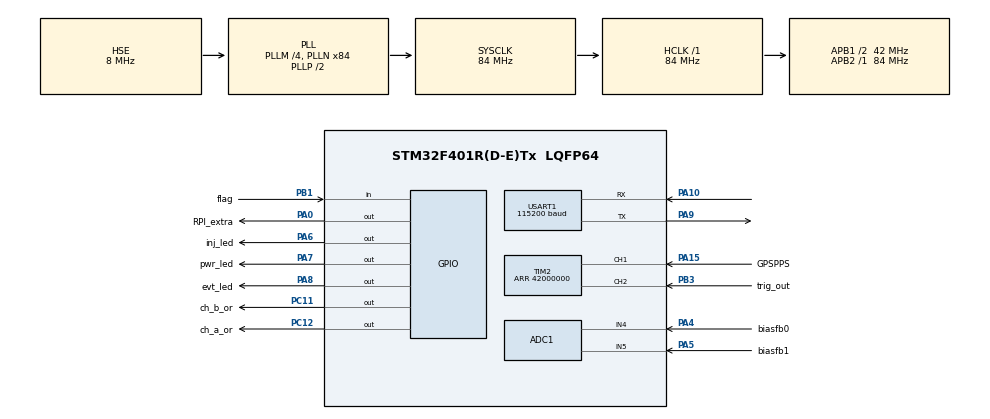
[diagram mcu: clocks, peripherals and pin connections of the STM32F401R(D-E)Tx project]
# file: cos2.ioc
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ADC1.Channel-0\#ChannelRegularConversion=ADC_CHANNEL_4
ADC1.Channel-1\#ChannelRegularConversion=ADC_CHANNEL_4
ADC1.ContinuousConvMode=ENABLE
ADC1.DMAContinuousRequests=ENABLE
ADC1.DataAlign=ADC_DATAALIGN_RIGHT
ADC1.DiscontinuousConvMode=DISABLE
ADC1.EOCSelection=ADC_EOC_SEQ_CONV
ADC1.InjNumberOfConversion=0
ADC1.NbrOfConversion=2
ADC1.NbrOfConversionFlag=1
ADC1.Rank-0\#ChannelRegularConversion=1
ADC1.Rank-1\#ChannelRegularConversion=2
ADC1.SamplingTime-0\#ChannelRegularConversion=ADC_SAMPLETIME_3CYCLES
ADC1.SamplingTime-1\#ChannelRegularConversion=ADC_SAMPLETIME_3CYCLES
ADC1.ScanConvMode=ENABLE
ADC1.master=1
Dma.ADC1.1.Direction=DMA_PERIPH_TO_MEMORY
Dma.ADC1.1.FIFOMode=DMA_FIFOMODE_DISABLE
Dma.ADC1.1.Instance=DMA2_Stream0
Dma.ADC1.1.MemDataAlignment=DMA_MDATAALIGN_HALFWORD
Dma.ADC1.1.MemInc=DMA_MINC_ENABLE
Dma.ADC1.1.Mode=DMA_CIRCULAR
Dma.ADC1.1.PeriphDataAlignment=DMA_PDATAALIGN_HALFWORD
Dma.ADC1.1.PeriphInc=DMA_PINC_DISABLE
Dma.ADC1.1.Priority=DMA_PRIORITY_LOW
Dma.Request0=USART1_TX
Dma.Request1=ADC1
Dma.USART1_TX.0.Direction=DMA_MEMORY_TO_PERIPH
Dma.USART1_TX.0.FIFOMode=DMA_FIFOMODE_DISABLE
Dma.USART1_TX.0.Instance=DMA2_Stream7
Dma.USART1_TX.0.MemDataAlignment=DMA_MDATAALIGN_BYTE
Dma.USART1_TX.0.MemInc=DMA_MINC_ENABLE
Dma.USART1_TX.0.Mode=DMA_NORMAL
Dma.USART1_TX.0.PeriphDataAlignment=DMA_PDATAALIGN_BYTE
Dma.USART1_TX.0.PeriphInc=DMA_PINC_DISABLE
Dma.USART1_TX.0.Priority=DMA_PRIORITY_LOW
IWDG.Prescaler=IWDG_PRESCALER_8
Mcu.Family=STM32F4
Mcu.Name=STM32F401R(D-E)Tx
Mcu.Package=LQFP64
NVIC.DMA2_Stream0_IRQn=true\:0\:0\:false\:false\:true\:false\:true\:true
NVIC.DMA2_Stream7_IRQn=true\:0\:0\:false\:false\:true\:false\:true\:true
NVIC.PriorityGroup=NVIC_PRIORITYGROUP_4
NVIC.TIM2_IRQn=true\:0\:0\:false\:false\:true\:true\:true\:true
NVIC.USART1_IRQn=true\:0\:0\:false\:false\:true\:true\:true\:true
PA0-WKUP.GPIO_Label=RPI_extra
PA0-WKUP.Signal=GPIO_Output
PA10.Mode=Asynchronous
PA10.Signal=USART1_RX
PA13.Mode=Serial_Wire
PA13.Signal=SYS_JTMS-SWDIO
PA14.Mode=Serial_Wire
PA14.Signal=SYS_JTCK-SWCLK
PA15.GPIO_Label=GPSPPS
PA15.Signal=S_TIM2_CH1_ETR
PA4.GPIO_Label=biasfb0
PA4.Signal=ADCx_IN4
PA5.GPIO_Label=biasfb1
PA5.Signal=ADCx_IN5
PA6.GPIO_Label=inj_led
PA6.Signal=GPIO_Output
PA7.GPIO_Label=pwr_led
PA7.Signal=GPIO_Output
PA8.GPIO_Label=evt_led
PA8.Signal=GPIO_Output
PA9.Mode=Asynchronous
PA9.Signal=USART1_TX
PB1.GPIO_Label=flag
PB1.Signal=GPIO_Input
PB3.GPIO_Label=trig_out
PB3.Signal=S_TIM2_CH2
PC11.GPIO_Label=ch_b_or
PC11.Signal=GPIO_Output
PC12.GPIO_Label=ch_a_or
PC12.Signal=GPIO_Output
PC14-OSC32_IN.Mode=LSE-External-Oscillator
PC14-OSC32_IN.Signal=RCC_OSC32_IN
PC15-OSC32_OUT.Mode=LSE-External-Oscillator
PC15-OSC32_OUT.Signal=RCC_OSC32_OUT
PH0\ -\ OSC_IN.Mode=HSE-External-Oscillator
PH0\ -\ OSC_IN.Signal=RCC_OSC_IN
PH1\ -\ OSC_OUT.Mode=HSE-External-Oscillator
PH1\ -\ OSC_OUT.Signal=RCC_OSC_OUT
ProjectManager.HeapSize=0x200
ProjectManager.StackSize=0x400
ProjectManager.TargetToolchain=STM32CubeIDE
RCC.48MHZClocksFreq_Value=56000000
RCC.AHBFreq_Value=84000000
RCC.APB1CLKDivider=RCC_HCLK_DIV2
RCC.APB1Freq_Value=42000000
RCC.APB1TimFreq_Value=84000000
RCC.APB2Freq_Value=84000000
RCC.APB2TimFreq_Value=84000000
RCC.CortexFreq_Value=84000000
RCC.HCLKFreq_Value=84000000
RCC.HSE_VALUE=8000000
RCC.HSI_VALUE=16000000
RCC.PLLM=4
RCC.PLLN=84
RCC.PLLQ=3
RCC.PLLSourceVirtual=RCC_PLLSOURCE_HSE
RCC.SYSCLKFreq_VALUE=84000000
RCC.SYSCLKSource=RCC_SYSCLKSOURCE_PLLCLK
RCC.VCOOutputFreq_Value=168000000
SH.ADCx_IN4.0=ADC1_IN4,IN4
SH.ADCx_IN5.0=ADC1_IN5,IN5
SH.S_TIM2_CH1_ETR.0=TIM2_CH1,Input_Capture1_from_TI1
SH.S_TIM2_CH2.0=TIM2_CH2,Input_Capture2_from_TI2
TIM2.Channel-Input_Capture1_from_TI1=TIM_CHANNEL_1
TIM2.Channel-Input_Capture2_from_TI2=TIM_CHANNEL_2
TIM2.Period=42000000
USART1.BaudRate=115200
USART1.OverSampling=UART_OVERSAMPLING_8
USART1.VirtualMode=VM_ASYNC
VP_IWDG_VS_IWDG.Mode=IWDG_Activate
VP_TIM2_VS_ClockSourceINT.Mode=Internal
VP_TIM3_VS_ClockSourceINT.Mode=Internal
board=custom

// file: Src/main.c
/* USER CODE BEGIN Header */
/**
  ******************************************************************************
  * @file           : main.c
  * @brief          : Main program body
  ******************************************************************************
  * @attention
  *
  * Copyright (c) 2024 STMicroelectronics.
  * All rights reserved.
  *
  * This software is licensed under terms that can be found in the LICENSE file
  * in the root directory of this software component.
  * If no LICENSE file comes with this software, it is provided AS-IS.
  *
  ******************************************************************************
  */
/* USER CODE END Header */
#include "main.h"

ADC_HandleTypeDef hadc1;

IWDG_HandleTypeDef hiwdg;

TIM_HandleTypeDef htim2;
TIM_HandleTypeDef htim3;

UART_HandleTypeDef huart1;
DMA_HandleTypeDef hdma_usart1_tx;

/* USER CODE BEGIN PV */
uint8_t pps_started=0;
uint32_t gps_timestamp=0;
uint32_t uptime=0;
uint8_t dumb_numb = 1;
uint8_t TextOutBuf[1024];
uint8_t data_ready = 0;
uint32_t evt_timestamp=0;
/* USER CODE END PV */

void SystemClock_Config(void);
static void MX_GPIO_Init(void);
static void MX_DMA_Init(void);
static void MX_ADC1_Init(void);
static void MX_TIM2_Init(void);
static void MX_TIM3_Init(void);
static void MX_USART1_UART_Init(void);
static void MX_IWDG_Init(void);

/* USER CODE BEGIN 0 */
void debugPrint(UART_HandleTypeDef *huart, char _out[])
{
	HAL_UART_Transmit(huart, (uint8_t *) _out, strlen(_out), 10);
}

void WatchdogRefresh(void) {
	HAL_IWDG_Refresh(&hiwdg);
}

/* USER CODE END 0 */

int main(void)
{

  /* MCU Configuration--------------------------------------------------------*/

  /* Reset of all peripherals, Initializes the Flash interface and the Systick. */
  HAL_Init();

  /* Configure the system clock */
  SystemClock_Config();

  /* Initialize all configured peripherals */
  MX_GPIO_Init();
  MX_DMA_Init();
  MX_ADC1_Init();
  MX_TIM2_Init();
  MX_TIM3_Init();
  MX_USART1_UART_Init();
  MX_IWDG_Init();
  /* USER CODE BEGIN 2 */
  HAL_GPIO_WritePin(pwr_led_GPIO_Port, pwr_led_Pin, GPIO_PIN_SET);
  HAL_GPIO_WritePin(evt_led_GPIO_Port, evt_led_Pin, GPIO_PIN_SET);
  debugPrint(&huart1, "Initialise system...\r\n");

  HAL_TIM_IC_Start(&htim2, TIM_CHANNEL_1); //gps pps timer routine
  HAL_TIM_IC_Start(&htim2, TIM_CHANNEL_2); //evt timer routine

  HAL_TIM_IC_Start_IT(&htim2, TIM_CHANNEL_1); //gps pps timer routine
  //TIM_Cmd(TIM2, ENABLE);
  //TIM2->CR1 |= 0x01;
  HAL_TIM_IC_Start(&htim2, TIM_CHANNEL_2); //gps pps timer routine
  HAL_TIM_IC_Start_IT(&htim2, TIM_CHANNEL_2); //event timer routine
  //TIM2->CR1 |= 0x01;
  //debugPrint(&huart1, "Starting timer 2\r\n");
  //HAL_TIM_Base_Start();
  //HAL_TIM_Base_Start(&htim2);
  //HAL_TIM_Base_Start_IT(&htim2);
 //TIM2->EGR = TIM_EGR_UG;
 //TIM2->CCMR1 &= ~TIM_CCMR1_CC1S;
 //TIM2->CCMR1 |= TIM_CCMR1_CC1S_0;
  //TIM2->CCER |= TIM_CCER_CC1E;
  //TIM2->DIER |= TIM_DIER_UIE;
  //
  //start the timer
  if (HAL_TIM_Base_Start_IT(&htim2) != HAL_OK)
    {
      /* Starting Error */
      Error_Handler();
    }
  //HAL_NVIC_DisableIRQ(TIM2_IRQn);
  //HAL_UART_Transmit(&huart1, pps_started, sizeof(pps_started), HAL_MAX_DELAY);
  //printf(" PPS: %d", dumb_numb); // print
  //HAL_UART_Transmit(&huart1, &buffer, 1, HAL_MAX_DELAY); //delay here has no function, it comes out as soon as it goes in.

  /* USER CODE END 2 */

  /* Infinite loop */
  while (1)
  {

    /* USER CODE BEGIN 3 */
	  WatchdogRefresh();
	  //debugPrint(&huart1, "loop: \r\n");
	  //printf(" PPS: %d", pps_started); // print
	  //sprintf(TextOutBuf, "%d", uptime);
	  //sprintf(TextOutBuf, "count %d", gps_timestamp);
	  //HAL_GPIO_TogglePin(CH_A_OR_GPIO_Port, CH_A_OR_Pin);
	  //HAL_Delay(100);
	  //HAL_GPIO_TogglePin(CH_B_OR_GPIO_Port, CH_B_OR_Pin);
	  //HAL_Delay(100);
	  //HAL_GPIO_TogglePin(CH_B_OR_GPIO_Port, CH_B_OR_Pin);
	  //HAL_Delay(100);
	  if (data_ready == 1)
	  {
	  HAL_UART_Transmit(&huart1, TextOutBuf, sizeof(TextOutBuf), HAL_MAX_DELAY);
	  memset(&TextOutBuf[0], 0, sizeof(TextOutBuf));
	  data_ready = 0;
	  }
	  HAL_Delay(20);
	  HAL_GPIO_WritePin(evt_led_GPIO_Port, evt_led_Pin, GPIO_PIN_RESET);

  }
  /* USER CODE END 3 */
}

void SystemClock_Config(void)
{
  RCC_OscInitTypeDef RCC_OscInitStruct = {0};
  RCC_ClkInitTypeDef RCC_ClkInitStruct = {0};

  /** Configure the main internal regulator output voltage
  */
  __HAL_RCC_PWR_CLK_ENABLE();
  __HAL_PWR_VOLTAGESCALING_CONFIG(PWR_REGULATOR_VOLTAGE_SCALE2);

  /** Initializes the RCC Oscillators according to the specified parameters
  * in the RCC_OscInitTypeDef structure.
  */
  RCC_OscInitStruct.OscillatorType = RCC_OSCILLATORTYPE_LSI|RCC_OSCILLATORTYPE_HSE;
  RCC_OscInitStruct.HSEState = RCC_HSE_ON;
  RCC_OscInitStruct.LSIState = RCC_LSI_ON;
  RCC_OscInitStruct.PLL.PLLState = RCC_PLL_ON;
  RCC_OscInitStruct.PLL.PLLSource = RCC_PLLSOURCE_HSE;
  RCC_OscInitStruct.PLL.PLLM = 4;
  RCC_OscInitStruct.PLL.PLLN = 84;
  RCC_OscInitStruct.PLL.PLLP = RCC_PLLP_DIV2;
  RCC_OscInitStruct.PLL.PLLQ = 3;
  if (HAL_RCC_OscConfig(&RCC_OscInitStruct) != HAL_OK)
  {
    Error_Handler();
  }

  /** Initializes the CPU, AHB and APB buses clocks
  */
  RCC_ClkInitStruct.ClockType = RCC_CLOCKTYPE_HCLK|RCC_CLOCKTYPE_SYSCLK
                              |RCC_CLOCKTYPE_PCLK1|RCC_CLOCKTYPE_PCLK2;
  RCC_ClkInitStruct.SYSCLKSource = RCC_SYSCLKSOURCE_PLLCLK;
  RCC_ClkInitStruct.AHBCLKDivider = RCC_SYSCLK_DIV1;
  RCC_ClkInitStruct.APB1CLKDivider = RCC_HCLK_DIV2;
  RCC_ClkInitStruct.APB2CLKDivider = RCC_HCLK_DIV1;

  if (HAL_RCC_ClockConfig(&RCC_ClkInitStruct, FLASH_LATENCY_2) != HAL_OK)
  {
    Error_Handler();
  }
}

static void MX_ADC1_Init(void)
{

  ADC_ChannelConfTypeDef sConfig = {0};

  /** Configure the global features of the ADC (Clock, Resolution, Data Alignment and number of conversion)
  */
  hadc1.Instance = ADC1;
  hadc1.Init.ClockPrescaler = ADC_CLOCK_SYNC_PCLK_DIV4;
  hadc1.Init.Resolution = ADC_RESOLUTION_12B;
  hadc1.Init.ScanConvMode = DISABLE;
  hadc1.Init.ContinuousConvMode = DISABLE;
  hadc1.Init.DiscontinuousConvMode = DISABLE;
  hadc1.Init.ExternalTrigConvEdge = ADC_EXTERNALTRIGCONVEDGE_NONE;
  hadc1.Init.ExternalTrigConv = ADC_SOFTWARE_START;
  hadc1.Init.DataAlign = ADC_DATAALIGN_RIGHT;
  hadc1.Init.NbrOfConversion = 1;
  hadc1.Init.DMAContinuousRequests = DISABLE;
  hadc1.Init.EOCSelection = ADC_EOC_SINGLE_CONV;
  if (HAL_ADC_Init(&hadc1) != HAL_OK)
  {
    Error_Handler();
  }

  /** Configure for the selected ADC regular channel its corresponding rank in the sequencer and its sample time.
  */
  sConfig.Channel = ADC_CHANNEL_4;
  sConfig.Rank = 1;
  sConfig.SamplingTime = ADC_SAMPLETIME_3CYCLES;
  if (HAL_ADC_ConfigChannel(&hadc1, &sConfig) != HAL_OK)
  {
    Error_Handler();
  }

}

static void MX_IWDG_Init(void)
{

  hiwdg.Instance = IWDG;
  hiwdg.Init.Prescaler = IWDG_PRESCALER_32;
  hiwdg.Init.Reload = 4095;
  if (HAL_IWDG_Init(&hiwdg) != HAL_OK)
  {
    Error_Handler();
  }

}

static void MX_TIM2_Init(void)
{

  TIM_ClockConfigTypeDef sClockSourceConfig = {0};
  TIM_MasterConfigTypeDef sMasterConfig = {0};
  TIM_IC_InitTypeDef sConfigIC = {0};

  htim2.Instance = TIM2;
  htim2.Init.Prescaler = 0;
  htim2.Init.CounterMode = TIM_COUNTERMODE_UP;
  htim2.Init.Period = 42000000;
  htim2.Init.ClockDivision = TIM_CLOCKDIVISION_DIV1;
  htim2.Init.AutoReloadPreload = TIM_AUTORELOAD_PRELOAD_DISABLE;
  if (HAL_TIM_Base_Init(&htim2) != HAL_OK)
  {
    Error_Handler();
  }
  sClockSourceConfig.ClockSource = TIM_CLOCKSOURCE_INTERNAL;
  if (HAL_TIM_ConfigClockSource(&htim2, &sClockSourceConfig) != HAL_OK)
  {
    Error_Handler();
  }
  if (HAL_TIM_IC_Init(&htim2) != HAL_OK)
  {
    Error_Handler();
  }
  sMasterConfig.MasterOutputTrigger = TIM_TRGO_RESET;
  sMasterConfig.MasterSlaveMode = TIM_MASTERSLAVEMODE_DISABLE;
  if (HAL_TIMEx_MasterConfigSynchronization(&htim2, &sMasterConfig) != HAL_OK)
  {
    Error_Handler();
  }
  sConfigIC.ICPolarity = TIM_INPUTCHANNELPOLARITY_RISING;
  sConfigIC.ICSelection = TIM_ICSELECTION_DIRECTTI;
  sConfigIC.ICPrescaler = TIM_ICPSC_DIV1;
  sConfigIC.ICFilter = 0;
  if (HAL_TIM_IC_ConfigChannel(&htim2, &sConfigIC, TIM_CHANNEL_1) != HAL_OK)
  {
    Error_Handler();
  }
  if (HAL_TIM_IC_ConfigChannel(&htim2, &sConfigIC, TIM_CHANNEL_2) != HAL_OK)
  {
    Error_Handler();
  }

}

static void MX_TIM3_Init(void)
{

  TIM_ClockConfigTypeDef sClockSourceConfig = {0};
  TIM_MasterConfigTypeDef sMasterConfig = {0};
  TIM_OC_InitTypeDef sConfigOC = {0};

  htim3.Instance = TIM3;
  htim3.Init.Prescaler = 0;
  htim3.Init.CounterMode = TIM_COUNTERMODE_UP;
  htim3.Init.Period = 65535;
  htim3.Init.ClockDivision = TIM_CLOCKDIVISION_DIV1;
  htim3.Init.AutoReloadPreload = TIM_AUTORELOAD_PRELOAD_DISABLE;
  if (HAL_TIM_Base_Init(&htim3) != HAL_OK)
  {
    Error_Handler();
  }
  sClockSourceConfig.ClockSource = TIM_CLOCKSOURCE_INTERNAL;
  if (HAL_TIM_ConfigClockSource(&htim3, &sClockSourceConfig) != HAL_OK)
  {
    Error_Handler();
  }
  if (HAL_TIM_PWM_Init(&htim3) != HAL_OK)
  {
    Error_Handler();
  }
  sMasterConfig.MasterOutputTrigger = TIM_TRGO_RESET;
  sMasterConfig.MasterSlaveMode = TIM_MASTERSLAVEMODE_DISABLE;
  if (HAL_TIMEx_MasterConfigSynchronization(&htim3, &sMasterConfig) != HAL_OK)
  {
    Error_Handler();
  }
  sConfigOC.OCMode = TIM_OCMODE_PWM1;
  sConfigOC.Pulse = 0;
  sConfigOC.OCPolarity = TIM_OCPOLARITY_HIGH;
  sConfigOC.OCFastMode = TIM_OCFAST_DISABLE;
  if (HAL_TIM_PWM_ConfigChannel(&htim3, &sConfigOC, TIM_CHANNEL_1) != HAL_OK)
  {
    Error_Handler();
  }
  HAL_TIM_MspPostInit(&htim3);

}

static void MX_USART1_UART_Init(void)
{

  huart1.Instance = USART1;
  huart1.Init.BaudRate = 115200;
  huart1.Init.WordLength = UART_WORDLENGTH_8B;
  huart1.Init.StopBits = UART_STOPBITS_1;
  huart1.Init.Parity = UART_PARITY_NONE;
  huart1.Init.Mode = UART_MODE_TX_RX;
  huart1.Init.HwFlowCtl = UART_HWCONTROL_NONE;
  huart1.Init.OverSampling = UART_OVERSAMPLING_8;
  if (HAL_UART_Init(&huart1) != HAL_OK)
  {
    Error_Handler();
  }

}

static void MX_DMA_Init(void)
{

  /* DMA controller clock enable */
  __HAL_RCC_DMA2_CLK_ENABLE();

  /* DMA interrupt init */
  /* DMA2_Stream7_IRQn interrupt configuration */
  HAL_NVIC_SetPriority(DMA2_Stream7_IRQn, 0, 0);
  HAL_NVIC_EnableIRQ(DMA2_Stream7_IRQn);

}

static void MX_GPIO_Init(void)
{
  GPIO_InitTypeDef GPIO_InitStruct = {0};

  /* GPIO Ports Clock Enable */
  __HAL_RCC_GPIOC_CLK_ENABLE();
  __HAL_RCC_GPIOH_CLK_ENABLE();
  __HAL_RCC_GPIOA_CLK_ENABLE();
  __HAL_RCC_GPIOB_CLK_ENABLE();

  /*Configure GPIO pin Output Level */
  HAL_GPIO_WritePin(GPIOA, pwr_led_Pin|evt_led_Pin, GPIO_PIN_RESET);

  /*Configure GPIO pin : RPI_extra_Pin */
  GPIO_InitStruct.Pin = RPI_extra_Pin;
  GPIO_InitStruct.Mode = GPIO_MODE_INPUT;
  GPIO_InitStruct.Pull = GPIO_NOPULL;
  HAL_GPIO_Init(RPI_extra_GPIO_Port, &GPIO_InitStruct);

  /*Configure GPIO pins : pwr_led_Pin evt_led_Pin */
  GPIO_InitStruct.Pin = pwr_led_Pin|evt_led_Pin;
  GPIO_InitStruct.Mode = GPIO_MODE_OUTPUT_PP;
  GPIO_InitStruct.Pull = GPIO_NOPULL;
  GPIO_InitStruct.Speed = GPIO_SPEED_FREQ_LOW;
  HAL_GPIO_Init(GPIOA, &GPIO_InitStruct);

  /*Configure GPIO pin : flag_Pin */
  GPIO_InitStruct.Pin = flag_Pin;
  GPIO_InitStruct.Mode = GPIO_MODE_INPUT;
  GPIO_InitStruct.Pull = GPIO_NOPULL;
  HAL_GPIO_Init(flag_GPIO_Port, &GPIO_InitStruct);

  /*Configure GPIO pins : CH_A_OR_Pin CH_B_OR_Pin */
  GPIO_InitStruct.Pin = CH_A_OR_Pin|CH_B_OR_Pin;
  GPIO_InitStruct.Mode = GPIO_MODE_INPUT;
  GPIO_InitStruct.Pull = GPIO_NOPULL;
  HAL_GPIO_Init(GPIOC, &GPIO_InitStruct);

}

void Error_Handler(void)
{
  __disable_irq();
  while (1)
  {
  }
}
